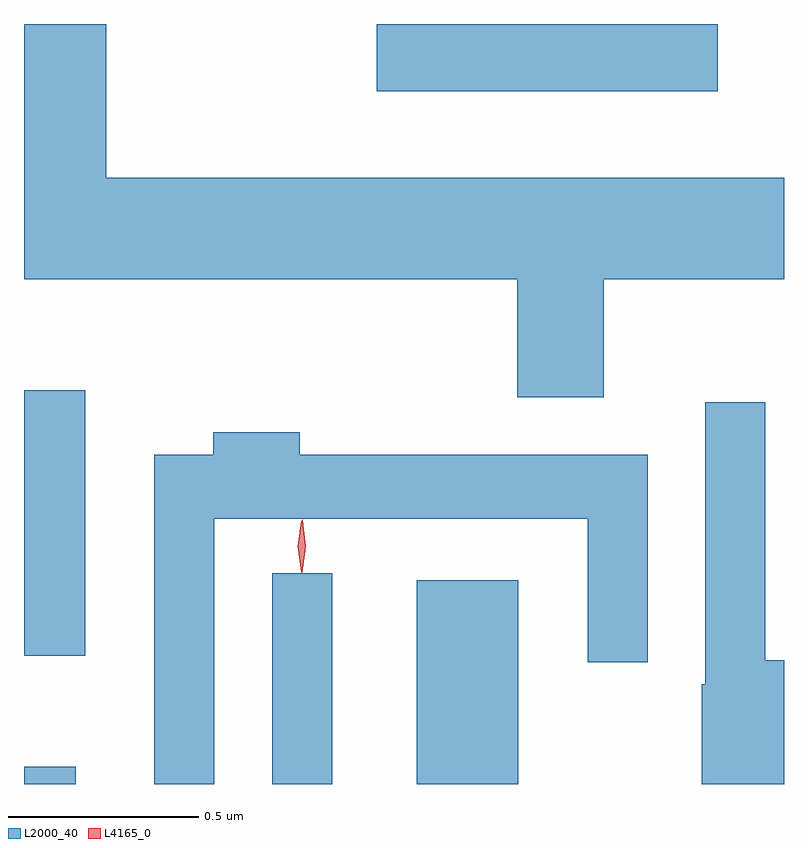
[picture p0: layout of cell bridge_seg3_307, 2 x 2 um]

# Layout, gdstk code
import gdstk
lib = gdstk.Library(unit=1e-6, precision=1e-09)
def R(c, l, rs):  # rectangles x0, y0, x1, y1
    for r in rs: c.add(gdstk.rectangle(r[:2], r[2:], *l))
def P(c, l, *ps):  # polygons
    for p in ps: c.add(gdstk.Polygon(p, *l))
L2000_40 = (2000, 40)
L4165_0 = (4165, 0)

bridge_seg3_307 = lib.new_cell('bridge_seg3_307')
R(bridge_seg3_307, L2000_40, [(1025.263,1129.128,1025.399,1129.174), (1025.916,1129.128,1026.074,1129.683), (1026.296,1129.128,1026.564,1129.664), (1025.263,1129.466,1025.424,1130.164), (1026.191,1130.951,1027.089,1131.128)])
P(bridge_seg3_307, L2000_40, [(1026.789,1130.456),(1027.263,1130.456),(1027.263,1130.724),(1025.479,1130.724),(1025.479,1131.128),(1025.263,1131.128),(1025.263,1130.456),(1026.561,1130.456),(1026.561,1130.146),(1026.789,1130.146)],
  [(1027.263,1129.454),(1027.214,1129.454),(1027.214,1130.133),(1027.056,1130.133),(1027.056,1129.39),(1027.046,1129.39),(1027.046,1129.128),(1027.263,1129.128)],
  [(1025.764,1129.826),(1026.746,1129.826),(1026.746,1129.448),(1026.904,1129.448),(1026.904,1129.994),(1025.989,1129.994),(1025.989,1130.054),(1025.761,1130.054),(1025.761,1129.994),(1025.606,1129.994),(1025.606,1129.128),(1025.764,1129.128)])
P(bridge_seg3_307, L4165_0, [(1025.994,1129.684),(1025.985,1129.754),(1025.995,1129.822),(1025.996,1129.823),(1025.996,1129.822),(1026.005,1129.753),(1025.995,1129.684),(1025.995,1129.684)],
  [(1025.993,1129.687),(1025.984,1129.754),(1025.993,1129.82),(1025.994,1129.821),(1025.994,1129.82),(1026.004,1129.754),(1025.994,1129.687),(1025.994,1129.687)])

lib.write_gds('bridge_seg3_307.gds')
